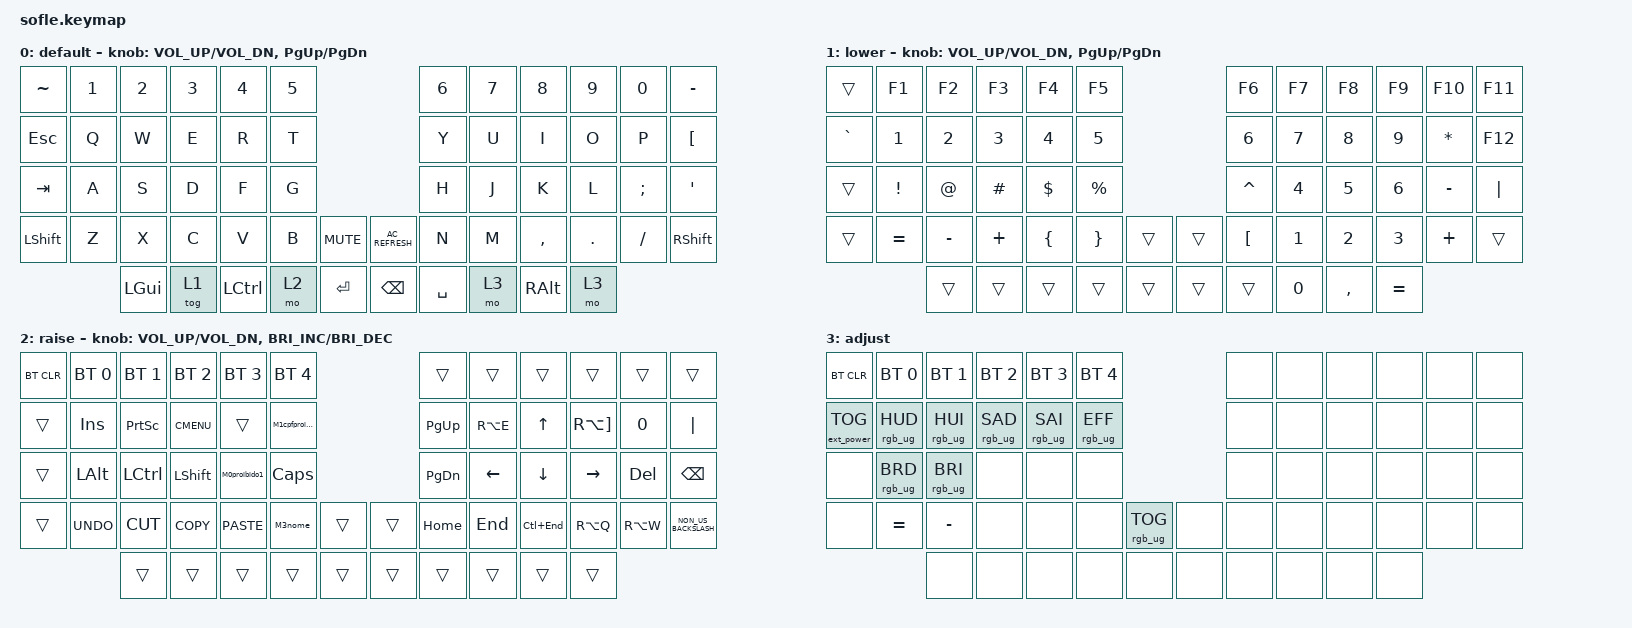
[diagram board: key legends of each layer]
/*
 * Copyright (c) 2020 The ZMK Contributors
 *
 * SPDX-License-Identifier: MIT
 */

#include <behaviors.dtsi>
#include <dt-bindings/zmk/bt.h>
#include <dt-bindings/zmk/ext_power.h>
#include <dt-bindings/zmk/keys.h>
#include <dt-bindings/zmk/rgb.h>

#define BASE 0
#define LOWER 1
#define RAISE 2
#define ADJUST 3

/ {
    // Activate ADJUST layer by pressing raise and lower

    conditional_layers {
        compatible = "zmk,conditional-layers";

        adjust_layer {
            if-layers = <LOWER RAISE>;
            then-layer = <ADJUST>;
        };
    };

    macros {
        M0proibido1: M0proibido1 {
            compatible = "zmk,behavior-macro";
            #binding-cells = <0>;
            bindings = <&none &kp LS(E) &kp N &kp T &kp E &kp R &kp O &kp G &kp E &kp R &kp M &kp I &kp N &kp N4 &kp AT &kp ENTER>;
            label = "M0PROIBIDO1";
        };

        M1cpfproibido: M1cpfproibido {
            compatible = "zmk,behavior-macro";
            #binding-cells = <0>;
            bindings = <&none &kp N7 &kp N0 &kp N3 &kp N7 &kp N9 &kp N5 &kp N1 &kp N3 &kp N1 &kp N5 &kp N3 &kp TAB &kp LS(E) &kp N &kp T &kp E &kp R &kp O &kp G &kp E &kp R &kp M &kp I &kp N &kp N4 &kp AT &kp ENTER>;
            label = "M1CPFPROIBIDO";
        };

        M3nome: M3nome {
            compatible = "zmk,behavior-macro";
            #binding-cells = <0>;
            bindings = <&none &kp LS(L) &kp U &kp C &kp A &kp S &kp SPACE &kp LS(B) &kp E &kp N &kp E &kp V &kp I &kp D &kp E &kp S &kp SPACE &kp LS(D) &kp I &kp A &kp S>;
            label = "M3NOME";
        };
    };

    keymap {
        compatible = "zmk,keymap";

        default_layer {
            display-name = "default";

            // ------------------------------------------------------------------------------------------------------------
            // |   `   |  1  |  2  |  3   |  4   |  5   |                   |  6   |  7    |  8    |  9   |   0   |       |
            // |  ESC  |  Q  |  W  |  E   |  R   |  T   |                   |  Y   |  U    |  I    |  O   |   P   | BKSPC |
            // |  TAB  |  A  |  S  |  D   |  F   |  G   |                   |  H   |  J    |  K    |  L   |   ;   |   '   |
            // | SHIFT |  Z  |  X  |  C   |  V   |  B   |  MUTE  |  |       |  N   |  M    |  ,    |  .   |   /   | SHIFT |
            //               | GUI | ALT  | CTRL | LOWER|  ENTER |  | SPACE | RAISE| CTRL  | ALT   | GUI  |

            bindings = <
&kp TILDE  &kp N1  &kp N2    &kp N3  &kp N4     &kp N5                                  &kp N6     &kp N7  &kp N8     &kp N9   &kp N0    &kp MINUS
&kp ESC    &kp Q   &kp W     &kp E   &kp R      &kp T                                   &kp Y      &kp U   &kp I      &kp O    &kp P     &kp LEFT_BRACKET
&kp TAB    &kp A   &kp S     &kp D   &kp F      &kp G                                   &kp H      &kp J   &kp K      &kp L    &kp SEMI  &kp SQT
&kp LSHFT  &kp Z   &kp X     &kp C   &kp V      &kp B   &kp C_MUTE    &kp C_AC_REFRESH  &kp N      &kp M   &kp COMMA  &kp DOT  &kp FSLH  &kp RSHFT
                   &kp LGUI  &tog 1  &kp LCTRL  &mo 2   &kp RET       &kp BACKSPACE     &kp SPACE  &mo 3   &kp RALT   &mo 3
            >;

            sensor-bindings = <&inc_dec_kp C_VOL_UP C_VOL_DN &inc_dec_kp PG_UP PG_DN>;
        };

        lower_layer {
            display-name = "lower";

            // TODO: Some binds are waiting for shifted keycode support.
            // ------------------------------------------------------------------------------------------------------------
            // |       |  F1 |  F2 |  F3  |  F4  |  F5  |                   |  F6  |  F7   |  F8   |  F9  |  F10  |  F11  |
            // |   `   |  1  |  2  |  3   |  4   |  5   |                   |  6   |  7    |  8    |  9   |   0   |  F12  |
            // |       |  !  |  @  |  #   |  $   |  %   |                   |  ^   |  &    |  *    |  (   |   )   |   |   |
            // |       |  =  |  -  |  +   |  {   |  }   |        |  |       |  [   |  ]    |  ;    |  :   |   \   |       |
            //               |     |      |      |      |        |  |       |      |       |       |      |

            bindings = <
&trans     &kp F1     &kp F2     &kp F3    &kp F4    &kp F5                       &kp F6     &kp F7        &kp F8        &kp F9        &kp F10       &kp F11
&kp GRAVE  &kp N1     &kp N2     &kp N3    &kp N4    &kp N5                       &kp N6     &kp N7        &kp N8        &kp N9        &kp ASTERISK  &kp F12
&trans     &kp EXCL   &kp AT     &kp HASH  &kp DLLR  &kp PRCNT                    &kp CARET  &kp NUMBER_4  &kp N5        &kp NUMBER_6  &kp MINUS     &kp PIPE
&trans     &kp EQUAL  &kp MINUS  &kp PLUS  &kp LBRC  &kp RBRC   &trans    &trans  &kp LBKT   &kp NUMBER_1  &kp NUMBER_2  &kp NUMBER_3  &kp PLUS      &trans
                      &trans     &trans    &trans    &trans     &trans    &trans  &trans     &kp N0        &kp COMMA     &kp EQUAL
            >;

            sensor-bindings = <&inc_dec_kp C_VOL_UP C_VOL_DN &inc_dec_kp PG_UP PG_DN>;
        };

        raise_layer {
            display-name = "raise";

            // ------------------------------------------------------------------------------------------------------------
            // | BTCLR | BT1  | BT2  |  BT3  |  BT4  |  BT5 |                |      |      |       |      |       |       |
            // |       | INS  | PSCR | GUI   |       |      |                | PGUP |      |   ^   |      |       |       |
            // |       | ALT  | CTRL | SHIFT |       | CAPS |                | PGDN |   <- |   v   |  ->  |  DEL  | BKSPC |
            // |       | UNDO | CUT  | COPY  | PASTE |      |      |  |      |      |      |       |      |       |       |
            //                |      |       |       |      |      |  |      |      |      |       |      |

            bindings = <
&bt BT_CLR  &bt BT_SEL 0  &bt BT_SEL 1  &bt BT_SEL 2  &bt BT_SEL 3  &bt BT_SEL 4                      &trans     &trans     &trans       &trans                 &trans     &trans
&trans      &kp INS       &kp PSCRN     &kp K_CMENU   &trans        &M1cpfproibido                    &kp PG_UP  &kp RA(E)  &kp UP       &kp RA(RIGHT_BRACKET)  &kp N0     &kp PIPE
&trans      &kp LALT      &kp LCTRL     &kp LSHFT     &M0proibido1  &kp CLCK                          &kp PG_DN  &kp LEFT   &kp DOWN     &kp RIGHT              &kp DEL    &kp BSPC
&trans      &kp K_UNDO    &kp K_CUT     &kp K_COPY    &kp K_PASTE   &M3nome         &trans    &trans  &kp HOME   &kp END    &kp LC(END)  &kp RA(Q)              &kp RA(W)  &kp NON_US_BACKSLASH
                          &trans        &trans        &trans        &trans          &trans    &trans  &trans     &trans     &trans       &trans
            >;

            sensor-bindings =
                <&inc_dec_kp C_VOL_UP C_VOL_DN>,
                <&inc_dec_kp C_BRIGHTNESS_INC C_BRIGHTNESS_DEC>;
        };

        adjust_layer {
            // ----------------------------------------------------------------------------------------------------------------------------
            // | BTCLR  |  BT1    |  BT2    |   BT3   |   BT4   |   BT5   |                  |      |      |       |      |       |       |
            // | EXTPWR | RGB_HUD | RGB_HUI | RGB_SAD | RGB_SAI | RGB_EFF |                  |      |      |       |      |       |       |
            // |        | RGB_BRD | RGB_BRI |         |         |         |                  |      |      |       |      |       |       |
            // |        |         |         |         |         |         | RGB_TOG | |      |      |      |       |      |       |       |
            //                    |         |         |         |         |         | |      |      |      |       |      |

            display-name = "adjust";
            bindings = <
&bt BT_CLR         &bt BT_SEL 0     &bt BT_SEL 1     &bt BT_SEL 2     &bt BT_SEL 3     &bt BT_SEL 4                               &none  &none  &none  &none  &none  &none
&ext_power EP_TOG  &rgb_ug RGB_HUD  &rgb_ug RGB_HUI  &rgb_ug RGB_SAD  &rgb_ug RGB_SAI  &rgb_ug RGB_EFF                            &none  &none  &none  &none  &none  &none
&none              &rgb_ug RGB_BRD  &rgb_ug RGB_BRI  &none            &none            &none                                      &none  &none  &none  &none  &none  &none
&none              &kp EQUAL        &kp MINUS        &none            &none            &none            &rgb_ug RGB_TOG    &none  &none  &none  &none  &none  &none  &none
                                    &none            &none            &none            &none            &none              &none  &none  &none  &none  &none
            >;
        };
    };
};
